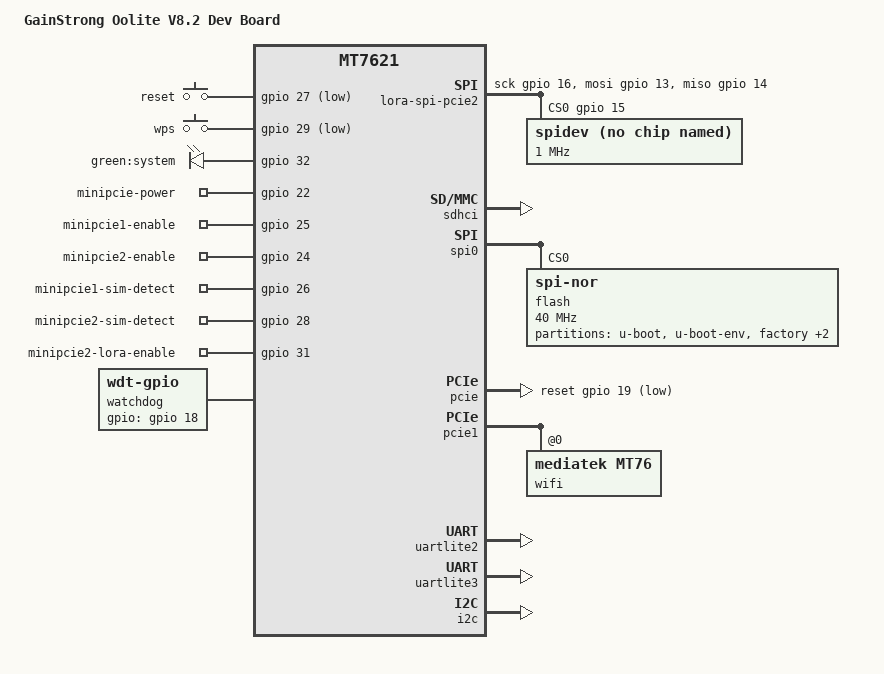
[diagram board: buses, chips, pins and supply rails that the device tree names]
#include "mt7621.dtsi"

#include <dt-bindings/gpio/gpio.h>
#include <dt-bindings/input/input.h>

/ {
	compatible = "gainstrong,oolite-v8.2-dev-board", "mediatek,mt7621-soc";
	model = "GainStrong Oolite V8.2 Dev Board";

	keys {
		compatible = "gpio-keys";

		reset {
			label = "reset";
			gpios = <&gpio 27 GPIO_ACTIVE_LOW>;
			linux,code = <KEY_RESTART>;
		};

		wps {
			label = "wps";
			gpios = <&gpio 29 GPIO_ACTIVE_LOW>;
			linux,code = <KEY_WPS_BUTTON>;
		};
	};

	leds {
		compatible = "gpio-leds";

		system {
			label = "green:system";
			gpios = <&gpio 32 GPIO_ACTIVE_HIGH>;
		};
	};

	gpio-export {
		compatible = "gpio-export";

		minipcie-power {
			gpio-export,name = "minipcie-power";
			gpio-export,output = <1>;
			gpios = <&gpio 22 GPIO_ACTIVE_HIGH>;
		};

		minipcie1-enable {
			gpio-export,name = "minipcie1-enable";
			gpio-export,output = <1>;
			gpios = <&gpio 25 GPIO_ACTIVE_HIGH>;
		};

		minipcie2-enable {
			gpio-export,name = "minipcie2-enable";
			gpio-export,output = <1>;
			gpios = <&gpio 24 GPIO_ACTIVE_HIGH>;
		};

		minipcie1-sim-detect {
			gpio-export,name = "minipcie1-sim-detect";
			gpios = <&gpio 26 GPIO_ACTIVE_HIGH>;
		};

		minipcie2-sim-detect {
			gpio-export,name = "minipcie2-sim-detect";
			gpios = <&gpio 28 GPIO_ACTIVE_HIGH>;
		};

		minipcie2-lora-enable {
			gpio-export,name = "minipcie2-lora-enable";
			gpio-export,output = <1>;
			gpios = <&gpio 31 GPIO_ACTIVE_HIGH>;
		};
	};

	lora-spi-pcie2 {
		compatible = "spi-gpio";
		#address-cells = <1>;
		gpio-mosi = <&gpio 13 0>;
		gpio-miso = <&gpio 14 0>;
		cs-gpios = <&gpio 15 0>;
		gpio-sck = <&gpio 16 0>;
		num-chipselects = <1>;
		
		spidev@0 {
			#address-cells = <1>;
			compatible = "linux,spidev";
			spi-max-frequency = <1000000>;
			reg = <0>;
		};
	};

	watchdog {
		compatible = "linux,wdt-gpio";
		gpios = <&gpio 18 GPIO_ACTIVE_HIGH>;
		hw_algo = "toggle";
		hw_margin_ms = <200>;
		always-running;
	};
};

&sdhci {
	status = "okay";
};

&spi0 {
	status = "okay";

	flash@0 {
		compatible = "jedec,spi-nor";
		reg = <0>;
		spi-max-frequency = <40000000>;
		m25p,fast-read;

		partitions {
			compatible = "gainstrong-dynamic-mtd";
			#address-cells = <1>;
			#size-cells = <1>;

			partition@0 {
				label = "u-boot";
				reg = <0x0 0x30000>;
				read-only;
			};

			partition@30000 {
				label = "u-boot-env";
				reg = <0x30000 0x10000>;
			};

			factory: partition@40000 {
				label = "factory";
				reg = <0x40000 0x10000>;
				read-only;
			};

			partition@50000 {
				compatible = "denx,uimage";
				label = "firmware";
				dynamic-end;
				reg = <0x50000 0x0>;
			};

			// Whole flash size, available for full flash backup
			all {
				label = "all";
				reg = <0x0 0x0>;
				read-only;
			};

		};
	};
};

&pcie {
	status = "okay";
	reset-gpios =
		// MT7915 reset
		<&gpio 19 GPIO_ACTIVE_LOW>,
	    <>,
		// MiniPCIe Slot1 reset
	    <&gpio 25 GPIO_ACTIVE_LOW>;
};

&pcie1 {
	wifi@0,0 {
		compatible = "mediatek,mt76";
		reg = <0x0000 0 0 0 0>;
		mediatek,mtd-eeprom = <&factory 0x0>;
	};
};

&factory {
	compatible = "nvmem-cells";
	#address-cells = <1>;
	#size-cells = <1>;

	macaddr_wifi: macaddr@4 {
		reg = <0x4 0x6>;
	};
};

&ethernet {
	pinctrl-0 = <&rgmii1_pins>;
};

&gmac0 {
	nvmem-cells = <&macaddr_wifi>;
	nvmem-cell-names = "mac-address";
	mac-address-increment = <2>;
};

&switch0 {
	ports {
		port@0 {
			status = "okay";
			label = "wan";
			nvmem-cells = <&macaddr_wifi>;
			nvmem-cell-names = "mac-address";
			mac-address-increment = <3>;
		};

		port@1 {
			status = "okay";
			label = "lan1";
		};

		port@2 {
			status = "okay";
			label = "lan2";
		};

		port@3 {
			status = "okay";
			label = "lan3";
		};

		port@4 {
			status = "okay";
			label = "lan4";
		};
	};
};

&state_default {
	gpio {
		groups = "jtag", "wdt", "rgmii2", "uart2", "i2c";
		function = "gpio";
	};
};

&uartlite2 {
	status = "okay";
};

&uartlite3 {
	status = "okay";
};

&i2c {
	status = "okay";
};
